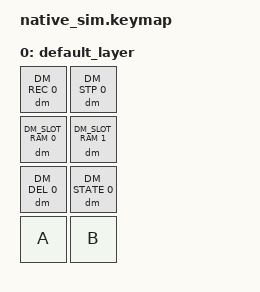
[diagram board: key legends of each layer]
#include <dt-bindings/zmk/keys.h>
#include <behaviors.dtsi>
#include <dt-bindings/zmk/kscan_mock.h>
#include <behaviors/dynamic_macro.dtsi>
#include <dt-bindings/zmk/dynamic_macros.h>

/* Verify STATUS count output reflects correct filled/total after each
 * record and delete operation. Uses STATUS_COUNT (header only) with
 * arrow style to keep snapshot simple: "==N/3 RAM\n" each time. */

&kscan {
    rows = <4>;
    columns = <2>;
    exit-after;
    events = <
        /* STATUS: 0 filled -> "==0/3 RAM\n" */
        ZMK_MOCK_PRESS(2,1,10)
        ZMK_MOCK_RELEASE(2,1,2000)
        /* Record A into slot 0 */
        ZMK_MOCK_PRESS(0,0,10)
        ZMK_MOCK_RELEASE(0,0,10)
        ZMK_MOCK_PRESS(3,0,10)
        ZMK_MOCK_RELEASE(3,0,10)
        ZMK_MOCK_PRESS(0,1,10)
        ZMK_MOCK_RELEASE(0,1,10)
        ZMK_MOCK_PRESS(1,0,10)
        ZMK_MOCK_RELEASE(1,0,10)
        /* STATUS: 1 filled -> "==1/3 RAM\n" */
        ZMK_MOCK_PRESS(2,1,10)
        ZMK_MOCK_RELEASE(2,1,2000)
        /* Record B into slot 1 */
        ZMK_MOCK_PRESS(0,0,10)
        ZMK_MOCK_RELEASE(0,0,10)
        ZMK_MOCK_PRESS(3,1,10)
        ZMK_MOCK_RELEASE(3,1,10)
        ZMK_MOCK_PRESS(0,1,10)
        ZMK_MOCK_RELEASE(0,1,10)
        ZMK_MOCK_PRESS(1,1,10)
        ZMK_MOCK_RELEASE(1,1,10)
        /* STATUS: 2 filled -> "==2/3 RAM\n" */
        ZMK_MOCK_PRESS(2,1,10)
        ZMK_MOCK_RELEASE(2,1,2000)
        /* Delete slot 0 */
        ZMK_MOCK_PRESS(2,0,10)
        ZMK_MOCK_RELEASE(2,0,10)
        ZMK_MOCK_PRESS(1,0,10)
        ZMK_MOCK_RELEASE(1,0,10)
        /* STATUS: 1 filled -> "==1/3 RAM\n" */
        ZMK_MOCK_PRESS(2,1,10)
        ZMK_MOCK_RELEASE(2,1,2000)
    >;
};

/ {
    keymap {
        compatible = "zmk,keymap";
        default_layer {
            bindings = <
                &dm DM_REC 0        &dm DM_STP 0
                &dm DM_SLOT_RAM 0   &dm DM_SLOT_RAM 1
                &dm DM_DEL 0        &dm DM_STATE 0
                &kp A               &kp B
            >;
        };
    };
};
